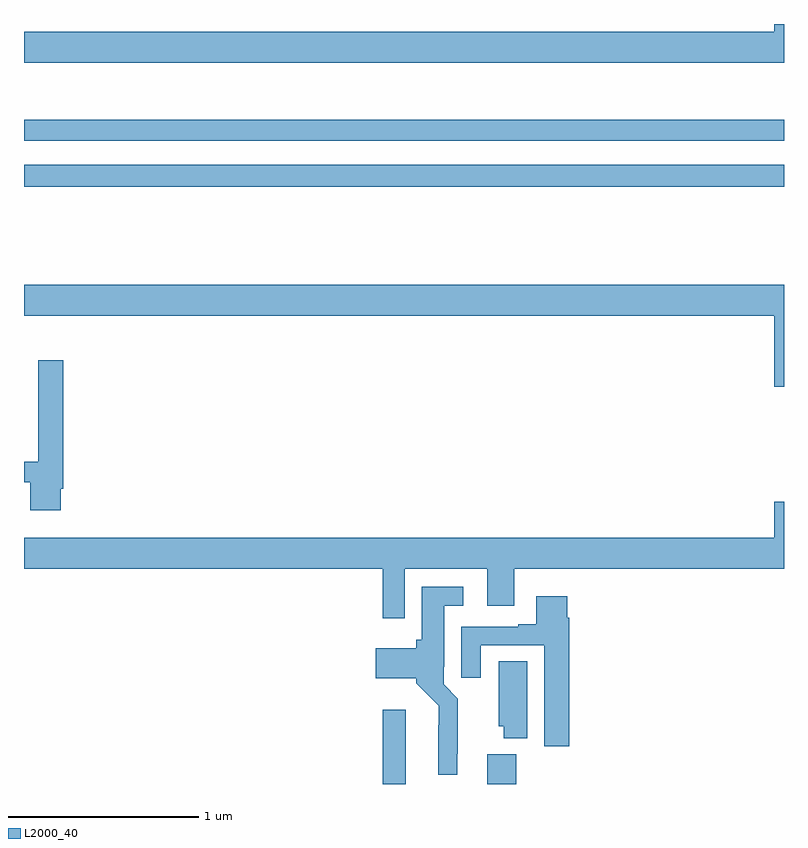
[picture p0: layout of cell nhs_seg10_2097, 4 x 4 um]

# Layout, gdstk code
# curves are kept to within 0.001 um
import gdstk
lib = gdstk.Library(unit=1e-6, precision=1e-09)
def R(c, l, rs):  # rectangles x0, y0, x1, y1
    for r in rs: c.add(gdstk.rectangle(r[:2], r[2:], *l))
def P(c, l, *ps):  # polygons
    for p in ps: c.add(gdstk.Polygon(p, *l))
L2000_40 = (2000, 40)

nhs_seg10_2097 = lib.new_cell('nhs_seg10_2097')
R(nhs_seg10_2097, L2000_40, [(222.887,1316.5,223.009,1316.89), (223.439,1316.5,223.592,1316.656), (221,1319.644,225,1319.76), (221,1319.886,225,1319.995)])
P(nhs_seg10_2097, L2000_40, [(225,1320.5),(224.948,1320.5),(224.948,1320.46),(221,1320.46),(221,1320.296),(225,1320.296)],
  [(225,1319.128),(221,1319.128),(221,1318.964),(224.948,1318.964),(224.948,1318.59),(225,1318.59)],
  [(221.194,1318.054),(221.207,1318.054),(221.207,1318.729),(221.075,1318.729),(221.075,1318.197),(221,1318.197),(221,1318.089),(221.033,1318.089),(221.033,1317.942),(221.194,1317.942)],
  [(223.005,1317.632),(223.439,1317.632),(223.439,1317.438),(223.579,1317.438),(223.579,1317.632),(225,1317.632),(225,1317.985),(224.948,1317.985),(224.948,1317.796),(221,1317.796),(221,1317.632),(222.889,1317.632),(222.889,1317.372),(223.005,1317.372)],
  [(223.279,1316.659),(223.283,1316.659),(223.283,1316.95),(223.209,1317.024),(223.209,1317.118),(223.213,1317.118),(223.213,1317.437),(223.312,1317.437),(223.312,1317.538),(223.094,1317.538),(223.094,1317.258),(223.064,1317.258),(223.064,1317.214),(222.852,1317.214),(222.852,1317.056),(223.064,1317.056),(223.064,1317.03),(223.182,1316.912),(223.181,1316.549),(223.279,1316.549)],
  [(223.871,1317.374),(223.858,1317.374),(223.858,1317.487),(223.697,1317.487),(223.697,1317.34),(223.601,1317.34),(223.601,1317.327),(223.301,1317.327),(223.301,1317.06),(223.405,1317.06),(223.405,1317.231),(223.739,1317.231),(223.739,1316.7),(223.871,1316.7)],
  [(223.648,1317.146),(223.499,1317.146),(223.499,1316.805),(223.526,1316.805),(223.526,1316.741),(223.648,1316.741)])

lib.write_gds('nhs_seg10_2097.gds')
